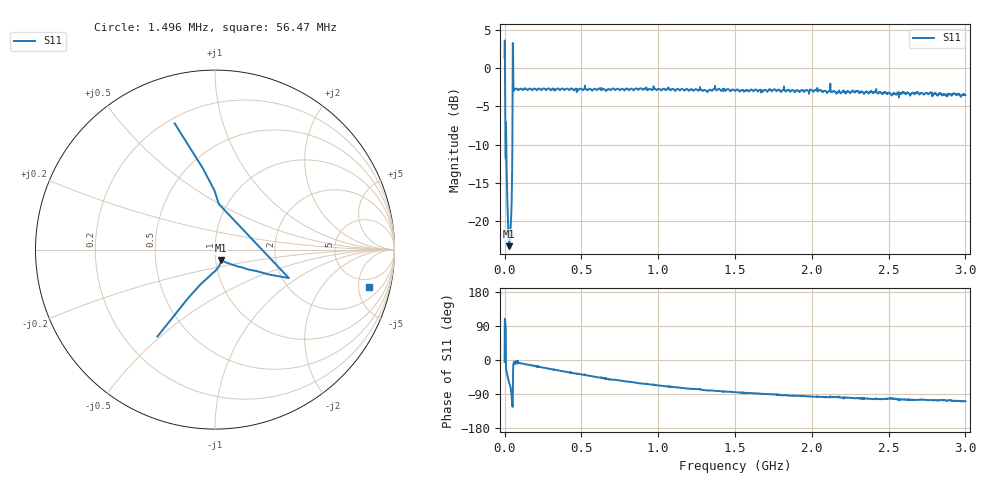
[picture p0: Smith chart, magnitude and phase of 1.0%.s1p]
# HZ S RI R 50
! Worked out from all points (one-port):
!   2020 points, 10 kHz to 3 GHz, reference 50 ohm
!   lowest |S11| = -23.3 dB at 29.73 MHz (marker M1), VSWR 1.15, Z = 53.1 - j6.35 ohm
!   |S11| at or under -10 dB: 6.172 MHz to 8.022 MHz (1.85 MHz wide, 26.1 % of centre); 10.7 MHz to 50.57 MHz (39.87 MHz wide, 130 % of centre)
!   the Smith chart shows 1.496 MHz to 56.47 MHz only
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10000  1.167 -0.1102
7439395  0.0209 0.2544
1.635467e7  0.125 -0.0936
1.784055e7  0.1057 -0.0865
2.229818e7  0.0663 -0.0737
2.972758e7  0.0335 -0.0595
3.418522e7  0.0319 -0.0692
3.715698e7  0.0289 -0.0788
3.864285e7  0.0267 -0.0843
4.310049e7  0.0113 -0.1076
5.795928e7  0.724 -0.1298
6.39028e7  0.7206 -0.0682
6.836043e7  0.7172 -0.1328
6.984631e7  0.7299 -0.0575
7.133219e7  0.7323 -0.0554
7.430395e7  0.7303 -0.0807
3.759374e8  0.6408 -0.3632
6.01791e8  0.5075 -0.5121
7.503789e8  0.423 -0.5789
8.974809e8  0.3378 -0.6425
1.126306e9  0.2225 -0.6966
1.500748e9  0.0645 -0.7061
1.875189e9  -0.0513 -0.7163
2.251117e9  -0.1177 -0.6782
2.399705e9  -0.1553 -0.6704
2.520061e9  -0.1402 -0.6477
2.625558e9  -0.174 -0.6676
3e9  -0.2124 -0.6316
